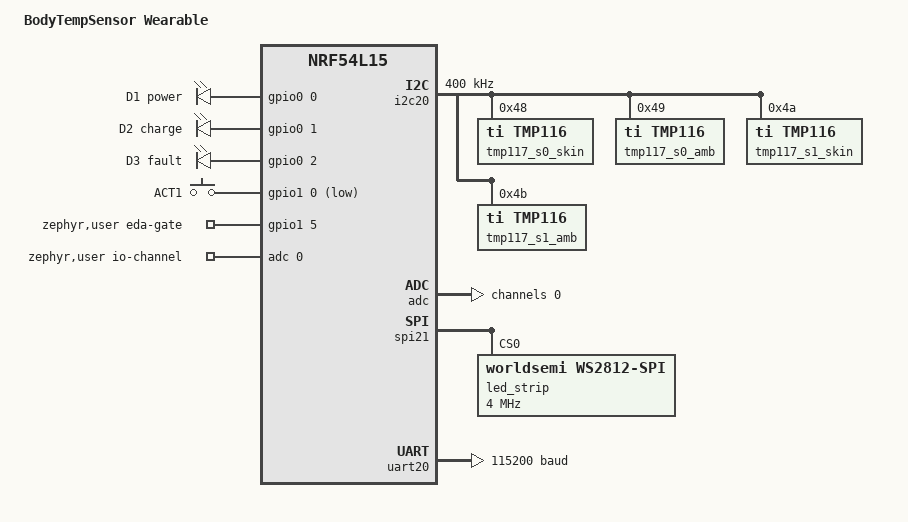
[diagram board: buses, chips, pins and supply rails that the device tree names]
/*
 * ============================================================================
 *  File:    bodytemp_wearable.dts
 *  Purpose: Devicetree for the custom BodyTempSensor PCB (nRF54L15-QFAA).
 *  Author:  Daan
 *  Date:    2026-06-14
 *
 *  Description:
 *    Board definition for the real chest-strap PCB. Brings in the nRF54L15
 *    application-core SoC devicetree and the board pinctrl, then declares the
 *    on-board peripherals the firmware drives: the four TMP117 sensors, the
 *    EDA SAADC channel + excitation gate, the WS2812 status pixel, the three
 *    discrete LEDs (D1..D3), and the tactile button (ACT1).
 *
 *  TODO(PoC): this is a SCAFFOLD. Copy the exact SoC include, RAM/flash
 *  `chosen`, and partitioning from the installed NCS nrf54l15dk board files,
 *  then confirm every pin against the KiCad schematic. A second button child
 *  is stubbed (disabled) per the BOM discrepancy note.
 * ============================================================================
 */

/dts-v1/;

#include <nordic/nrf54l15_cpuapp.dtsi>
#include <zephyr/dt-bindings/gpio/gpio.h>
#include <zephyr/dt-bindings/led/led.h>
#include <zephyr/dt-bindings/adc/adc.h>
#include <zephyr/dt-bindings/adc/nrf-saadc.h>
#include "bodytemp_wearable-pinctrl.dtsi"

/ {
	model = "BodyTempSensor Wearable";
	compatible = "itsnotdaan,bodytemp-wearable";

	chosen {
		zephyr,sram = &cpuapp_sram;
		zephyr,flash = &cpuapp_rram;
		zephyr,console = &uart20;
		zephyr,led-strip = &led_strip;
	};

	/* --- Three discrete status LEDs (D1, D2, D3) --- */
	leds: leds {
		compatible = "gpio-leds";
		led_power: led_0 {
			gpios = <&gpio0 0 GPIO_ACTIVE_HIGH>;
			label = "D1 power";
		};
		led_charge: led_1 {
			gpios = <&gpio0 1 GPIO_ACTIVE_HIGH>;
			label = "D2 charge";
		};
		led_fault: led_2 {
			gpios = <&gpio0 2 GPIO_ACTIVE_HIGH>;
			label = "D3 fault";
		};
	};

	/*
	 * --- Buttons (gpio-keys) ---
	 * ACT1 is the single populated tactile switch. The firmware supports N
	 * buttons by iterating this node's children, so the second button is just
	 * a disabled child to enable later — no code change required.
	 */
	buttons: buttons {
		compatible = "gpio-keys";
		button_act1: button_0 {
			gpios = <&gpio1 0 (GPIO_PULL_UP | GPIO_ACTIVE_LOW)>;
			label = "ACT1";
		};
		/* TODO(PoC): populate + enable when a 2nd switch is fitted. */
		button_aux: button_1 {
			gpios = <&gpio1 1 (GPIO_PULL_UP | GPIO_ACTIVE_LOW)>;
			label = "AUX (stubbed)";
			status = "disabled";
		};
	};

	/* --- App-level handles: EDA ADC channel + excitation gate GPIO --- */
	zephyr,user {
		io-channels = <&adc 0>;
		eda-gate-gpios = <&gpio1 5 GPIO_ACTIVE_HIGH>;
	};
};

/* --- I2C20: four TMP117 sensors (two heat-flux stacks) --- */
&i2c20 {
	status = "okay";
	pinctrl-0 = <&i2c20_default>;
	pinctrl-1 = <&i2c20_sleep>;
	pinctrl-names = "default", "sleep";
	clock-frequency = <400000>;

	tmp117_s0_skin: tmp117@48 { compatible = "ti,tmp116"; reg = <0x48>; };
	tmp117_s0_amb:  tmp117@49 { compatible = "ti,tmp116"; reg = <0x49>; };
	tmp117_s1_skin: tmp117@4a { compatible = "ti,tmp116"; reg = <0x4a>; };
	tmp117_s1_amb:  tmp117@4b { compatible = "ti,tmp116"; reg = <0x4b>; };
};

/* --- SAADC: EDA / GSR channel --- */
&adc {
	status = "okay";
	#address-cells = <1>;
	#size-cells = <0>;

	channel@0 {
		reg = <0>;
		zephyr,gain = "ADC_GAIN_1_2";
		zephyr,reference = "ADC_REF_VDD_1_4";
		zephyr,acquisition-time = <ADC_ACQ_TIME_DEFAULT>;
		zephyr,input-positive = <NRF_SAADC_AIN0>;
		zephyr,resolution = <12>;
	};
};

/* --- SPI21: WS2812 single status pixel --- */
&spi21 {
	status = "okay";
	pinctrl-0 = <&spi21_default>;
	pinctrl-1 = <&spi21_sleep>;
	pinctrl-names = "default", "sleep";

	led_strip: ws2812@0 {
		compatible = "worldsemi,ws2812-spi";
		reg = <0>;
		spi-max-frequency = <4000000>;
		chain-length = <1>;
		color-mapping = <LED_COLOR_ID_GREEN
				 LED_COLOR_ID_RED
				 LED_COLOR_ID_BLUE>;
		spi-one-frame = <0x70>;
		spi-zero-frame = <0x40>;
	};
};

/* Console UART for SWD/USB debug logging during bring-up. */
&uart20 {
	status = "okay";
	current-speed = <115200>;
};
